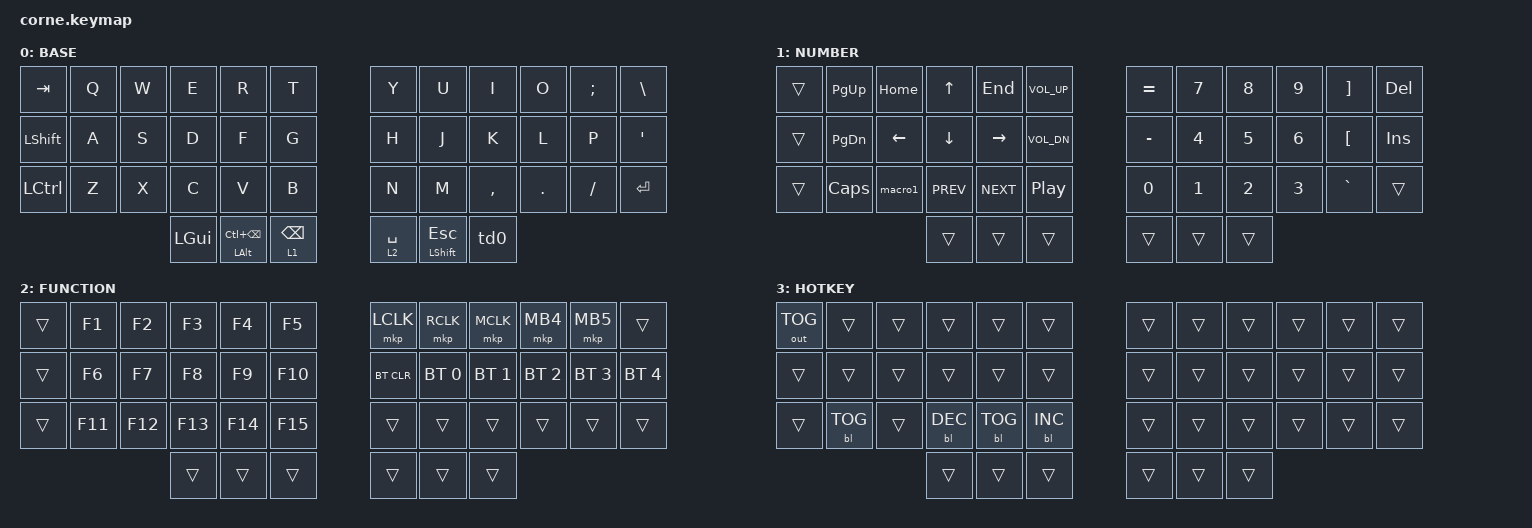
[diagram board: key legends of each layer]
#include <behaviors.dtsi>
#include <dt-bindings/zmk/keys.h>
#include <dt-bindings/zmk/bt.h>
#include <dt-bindings/zmk/outputs.h>
#include <dt-bindings/zmk/backlight.h>

#define ZMK_POINTING_DEFAULT_SCRL_VAL 100
#include <dt-bindings/zmk/pointing.h>

// Layer numbers for use by the keymap & macros

#define BASE    0
#define NUMBER  1
#define FUNTION 2
#define HOTKEY  3



/ {
   behaviors {
        td0: tap_dance_0 {
            compatible = "zmk,behavior-tap-dance";
            #binding-cells = <0>;
            tapping-term-ms = <200>;
            bindings = <&to 0>, <&to 1>, <&to 2>;
        };
    };

    macros {
        macro1: toggle_hdr {
            compatible = "zmk,behavior-macro";
            #binding-cells = <0>;
            bindings
                = <&macro_press &kp LGUI>
                , <&macro_wait_time 200>
                , <&macro_press &kp LALT>
                , <&macro_wait_time 200>
                , <&macro_tap &kp B>
                , <&macro_release &kp LGUI>
                , <&macro_release &kp LALT>
                ;
        };
    };

    keymap {
        compatible = "zmk,keymap";

        windows_default_layer {
            label = "BASE";
            bindings = <
// ╭───────────────┬───────────────┬───────────────┬───────────────┬───────────────┬───────────────╮                                 ╭───────────────┬───────────────┬───────────────┬───────────────┬───────────────┬───────────────╮
       &kp TAB        &kp Q            &kp W           &kp E           &kp R           &kp T     /*|                                 |*/  &kp Y          &kp U           &kp I           &kp O           &kp SEMI       &kp BSLH
       &kp LSHIFT     &kp A            &kp S           &kp D           &kp F           &kp G     /*├─────────────╮     ╭─────────────┤*/  &kp H          &kp J           &kp K           &kp L           &kp P          &kp SQT
       &kp LCTRL      &kp Z            &kp X           &kp C           &kp V           &kp B                                              &kp N          &kp M           &kp COMMA       &kp DOT         &kp FSLH       &kp ENTER
/* ╰───────────────┴───────────────┤*/                                 &kp LGUI   &mt LALT LC(BSPC) &lt 1 BSPC        &lt 2 SPACE   &mt LSHIFT ESC    &td0                                      //├───────────────┴───────────────╯
//                                 ╰───────────────┴───────────────┴───────────────┴───────────────┴─────────────╯     ╰─────────────┴───────────────┴───────────────┴───────────────┴───────────────╯
            >;
        };

        windows_symbols_layer {
            label = "NUMBER";
            bindings = <
// ╭───────────────┬───────────────┬───────────────┬───────────────┬───────────────┬───────────────╮                                 ╭───────────────┬───────────────┬───────────────┬───────────────┬───────────────┬───────────────╮
       &trans          &kp PG_UP       &kp HOME        &kp UP          &kp END      &kp C_VOL_UP /*|                                 |*/  &kp EQUAL        &kp N7          &kp N8          &kp N9          &kp RBKT        &kp DEL
       &trans          &kp PG_DN       &kp LEFT        &kp DOWN        &kp RIGHT    &kp C_VOL_DN /*├─────────────╮     ╭─────────────┤*/  &kp MINUS        &kp N4          &kp N5          &kp N6          &kp LBKT        &kp INS
       &trans          &kp CAPS        &macro1         &kp C_PREV      &kp C_NEXT        &kp C_PP                                          &kp N0          &kp N1          &kp N2          &kp N3          &kp GRAVE       &trans
/* ╰───────────────┴───────────────┤*/                                 &trans            &trans         &trans              &trans         &trans          &trans                                  //├───────────────┴───────────────╯
//                                 ╰───────────────┴───────────────┴───────────────┴───────────────┴─────────────╯     ╰─────────────┴───────────────┴───────────────┴───────────────┴───────────────╯
            >;
        };

        numpad_layer {
            label = "FUNCTION";
            
            bindings = <
// ╭───────────────┬───────────────┬───────────────┬───────────────┬───────────────┬───────────────╮                                 ╭───────────────┬───────────────┬───────────────┬───────────────┬───────────────┬───────────────╮
       &trans          &kp F1          &kp F2          &kp F3          &kp F4          &kp F5    /*|                                 |*/   &mkp LCLK     &mkp RCLK       &mkp MCLK        &mkp MB4       &mkp MB5         &trans
       &trans          &kp F6          &kp F7          &kp F8          &kp F9          &kp F10   /*├─────────────╮     ╭─────────────┤*/   &bt BT_CLR    &bt BT_SEL 0    &bt BT_SEL 1     &bt BT_SEL 2   &bt BT_SEL 3     &bt BT_SEL 4
       &trans          &kp F11         &kp F12         &kp F13         &kp F14         &kp F15                                             &trans        &trans          &trans           &trans         &trans           &trans
/* ╰───────────────┴───────────────┤*/                                 &trans            &trans         &trans              &trans         &trans          &trans                                  //├───────────────┴───────────────╯
//                                 ╰───────────────┴───────────────┴───────────────┴───────────────┴─────────────╯     ╰─────────────┴───────────────┴───────────────┴───────────────┴───────────────╯
            >;
      };



      settings_layer {
            label = "HOTKEY";
            bindings = <
// ╭───────────────┬───────────────┬───────────────┬───────────────┬───────────────┬────────────────╮                                 ╭───────────────┬───────────────┬───────────────┬───────────────┬───────────────┬───────────────╮
      &out OUT_TOG      &trans         &trans              &trans         &trans          &trans  /*|                                 |*/   &trans         &trans          &trans          &trans          &trans          &trans       
      &trans            &trans         &trans              &trans         &trans          &trans  /*├─────────────╮     ╭─────────────┤*/   &trans         &trans          &trans          &trans          &trans          &trans  
      &trans            &bl BL_TOG     &trans              &bl BL_DEC     &bl BL_TOG      &bl BL_INC                                        &trans         &trans          &trans          &trans          &trans          &trans  
/* ╰───────────────┴───────────────┤*/                                    &trans          &trans         &trans              &trans         &trans         &trans                                   //├───────────────┴───────────────╯
//                                 ╰───────────────┴───────────────┴───────────────┴────────────────┴─────────────╯     ╰─────────────┴───────────────┴───────────────┴───────────────┴───────────────╯   
            >;
        };
    };
};
